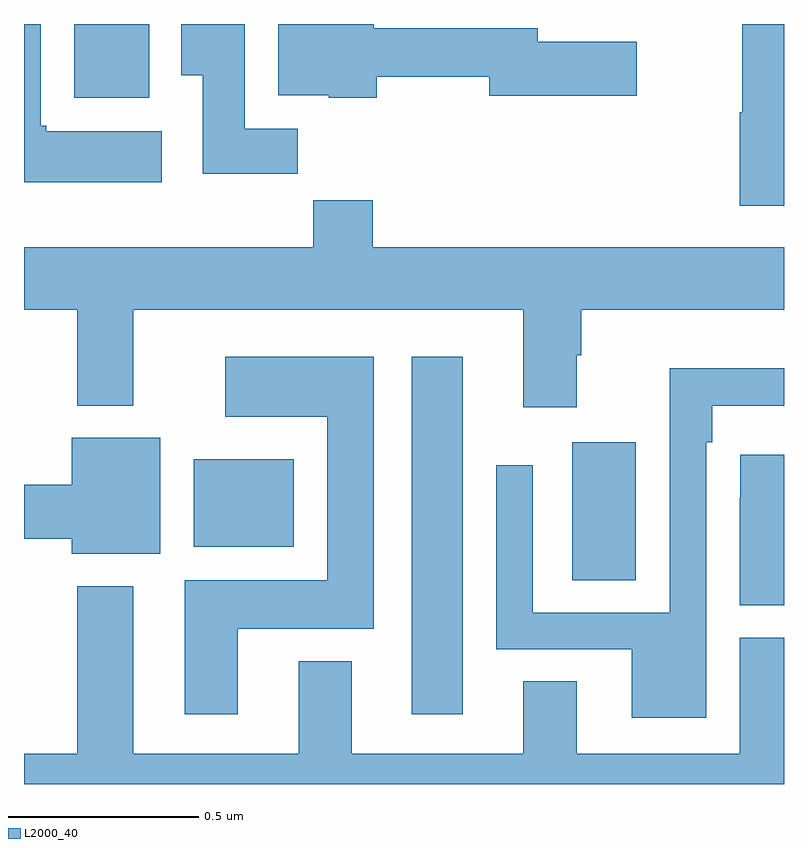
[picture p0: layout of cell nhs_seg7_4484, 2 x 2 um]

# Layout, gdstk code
import gdstk
lib = gdstk.Library(unit=1e-6, precision=1e-09)
def R(c, l, rs):  # rectangles x0, y0, x1, y1
    for r in rs: c.add(gdstk.rectangle(r[:2], r[2:], *l))
def P(c, l, *ps):  # polygons
    for p in ps: c.add(gdstk.Polygon(p, *l))
L2000_40 = (2000, 40)

nhs_seg7_4484 = lib.new_cell('nhs_seg7_4484')
R(nhs_seg7_4484, L2000_40, [(174.02,1034.184,174.154,1035.124), (174.443,1034.536,174.61,1034.899), (173.447,1034.624,173.71,1034.854), (173.132,1035.806,173.329,1036)])
P(nhs_seg7_4484, L2000_40, [(173.362,1035.718),(173.058,1035.718),(173.058,1035.732),(173.044,1035.732),(173.044,1036),(173,1036),(173,1035.584),(173.362,1035.584)],
  [(175,1036),(174.89,1036),(174.89,1035.768),(174.883,1035.768),(174.883,1035.522),(175,1035.522)],
  [(173.928,1035.861),(174.224,1035.861),(174.224,1035.811),(174.613,1035.811),(174.613,1035.953),(174.352,1035.953),(174.352,1035.989),(173.92,1035.989),(173.92,1036),(173.669,1036),(173.669,1035.812),(173.802,1035.812),(173.802,1035.806),(173.928,1035.806)],
  [(173.72,1035.724),(173.581,1035.724),(173.581,1036),(173.414,1036),(173.414,1035.865),(173.471,1035.865),(173.471,1035.606),(173.72,1035.606)],
  [(174.454,1035.128),(174.467,1035.128),(174.467,1035.248),(175,1035.248),(175,1035.412),(173.918,1035.412),(173.918,1035.536),(173.761,1035.536),(173.761,1035.412),(173,1035.412),(173,1035.248),(173.14,1035.248),(173.14,1034.996),(173.287,1034.996),(173.287,1035.248),(174.314,1035.248),(174.314,1034.991),(174.454,1034.991)],
  [(173.563,1034.408),(173.92,1034.408),(173.92,1035.124),(173.529,1035.124),(173.529,1034.966),(173.798,1034.966),(173.798,1034.536),(173.423,1034.536),(173.423,1034.184),(173.563,1034.184)],
  [(174.795,1034.9),(174.811,1034.9),(174.811,1034.996),(175,1034.996),(175,1035.094),(174.699,1035.094),(174.699,1034.451),(174.339,1034.451),(174.339,1034.839),(174.243,1034.839),(174.243,1034.355),(174.599,1034.355),(174.599,1034.174),(174.795,1034.174)],
  [(173.359,1034.911),(173.126,1034.911),(173.126,1034.787),(173,1034.787),(173,1034.645),(173.126,1034.645),(173.126,1034.606),(173.359,1034.606)],
  [(175,1034.866),(174.885,1034.866),(174.885,1034.753),(174.884,1034.753),(174.884,1034.47),(175,1034.47)],
  [(175,1034.385),(174.884,1034.385),(174.884,1034.08),(174.454,1034.08),(174.454,1034.27),(174.314,1034.27),(174.314,1034.08),(173.863,1034.08),(173.863,1034.323),(173.723,1034.323),(173.723,1034.08),(173.287,1034.08),(173.287,1034.521),(173.14,1034.521),(173.14,1034.08),(173,1034.08),(173,1034),(175,1034)])

lib.write_gds('nhs_seg7_4484.gds')
